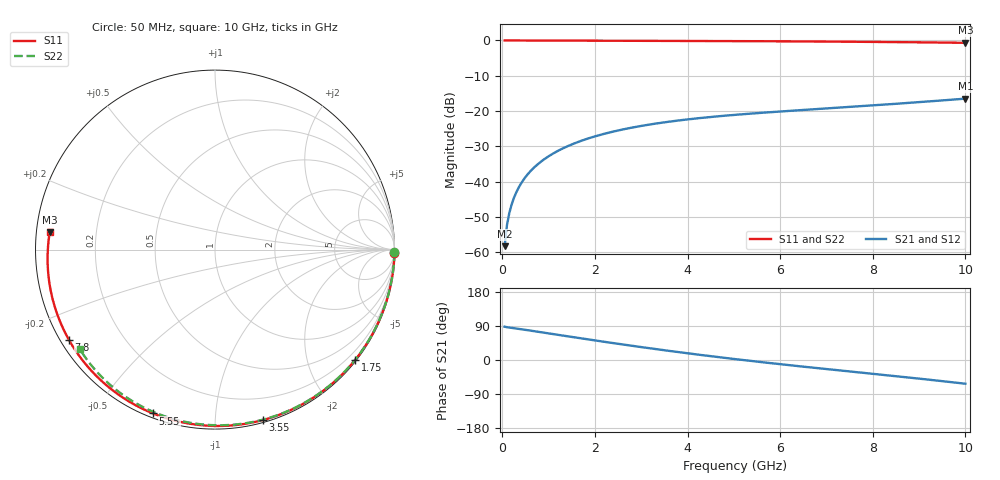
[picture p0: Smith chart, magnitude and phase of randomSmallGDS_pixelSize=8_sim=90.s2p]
! freq	dB(S11)	phase(S11)	dB(S12)	phase(S12)
!  dB(S21)	phase(S21)	dB(S22)	phase(S22)
!S-par simulation data
#  GHz  S  DB  R 50
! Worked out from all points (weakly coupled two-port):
!   200 points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, 50 MHz to 10 GHz, reference 50 ohm
!   highest |S21| = -16.50 dB at 10 GHz (marker M1); lowest = -58.3 dB at 50 MHz (marker M2)
!   lowest |S11| = -0.7 dB at 10 GHz (marker M3), VSWR 25.99, Z = 1.93 + j2.6 ohm
!   |S11| at or under -10 dB: nowhere
!   |S22| runs from -0.6 to 0.0 dB; largest |S21 - S12| = 0
!   S11 on the Smith chart (normalised r, x): 50 MHz: open; 1.75 GHz: 0.03, -2.90; 3.55 GHz: 0.02, -1.32; 5.55 GHz: 0.02, -0.69; 7.8 GHz: 0.02, -0.28; 10 GHz: 0.04, +0.05
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0.05  -0.00 -1.1  -58.34 87.9  -58.34 87.9  -0.00 -0.8
0.1  -0.00 -2.2  -52.45 86.5  -52.45 86.5  -0.00 -1.7
0.15  -0.00 -3.3  -49.02 85.6  -49.02 85.6  -0.00 -2.5
0.2  -0.00 -4.5  -46.58 84.7  -46.58 84.7  -0.00 -3.4
0.25  -0.00 -5.6  -44.68 83.9  -44.68 83.9  -0.00 -4.2
0.35  -0.01 -7.8  -41.81 82.2  -41.81 82.2  -0.00 -5.9
0.5  -0.01 -11.1  -38.75 79.6  -38.75 79.6  -0.01 -8.5
0.7  -0.02 -15.5  -35.87 75.9  -35.87 75.9  -0.01 -11.8
1  -0.03 -22.0  -32.85 70.3  -32.85 70.3  -0.02 -16.8
1.35  -0.04 -29.6  -30.35 63.7  -30.35 63.7  -0.03 -22.6
1.75  -0.05 -38.1  -28.25 56.3  -28.25 56.3  -0.04 -29.1
2.6  -0.08 -55.7  -25.24 41.0  -25.24 41.0  -0.07 -42.8
3.4  -0.11 -71.5  -23.40 27.4  -23.40 27.4  -0.09 -55.2
3.55  -0.12 -74.4  -23.13 24.9  -23.13 24.9  -0.10 -57.5
4.3  -0.15 -88.5  -21.96 13.1  -21.96 13.1  -0.12 -68.7
5.05  -0.18 -102.0  -21.07 2.0  -21.07 2.0  -0.15 -79.5
5.55  -0.21 -110.7  -20.56 -5.0  -20.56 -5.0  -0.18 -86.5
6.7  -0.29 -130.1  -19.54 -20.1  -19.54 -20.1  -0.24 -101.9
7.8  -0.39 -148.4  -18.60 -33.9  -18.60 -33.9  -0.32 -116.1
8.35  -0.45 -157.5  -18.10 -40.8  -18.10 -40.8  -0.37 -123.1
9.2  -0.55 -171.9  -17.30 -51.8  -17.30 -51.8  -0.47 -133.7
10  -0.67 174.0  -16.50 -62.6  -16.50 -62.6  -0.58 -143.6
